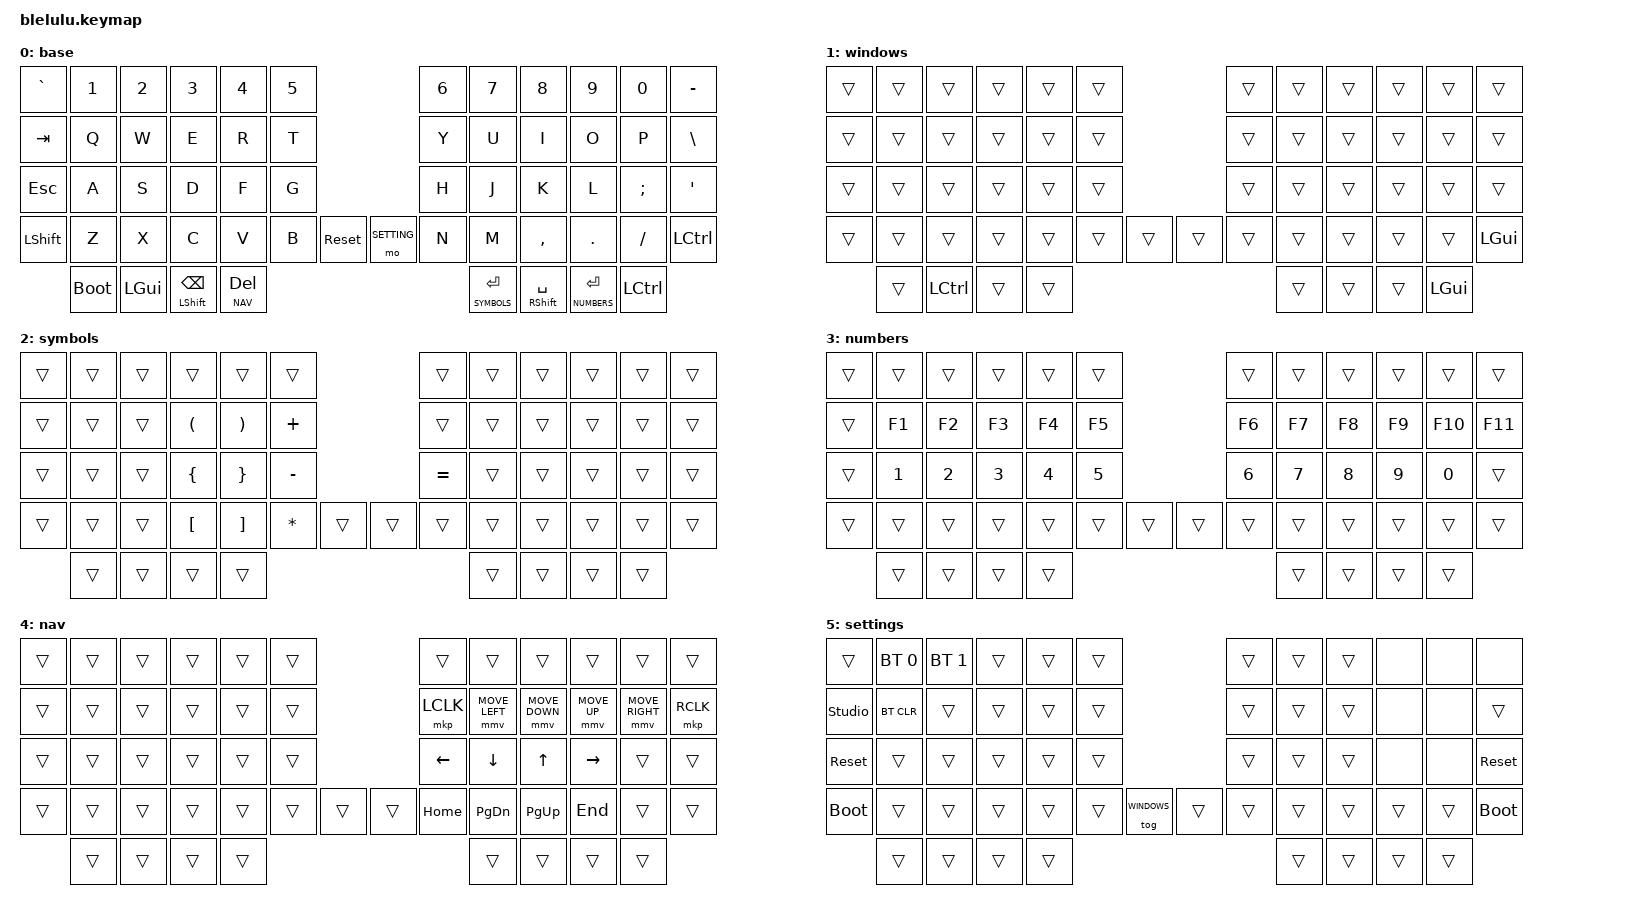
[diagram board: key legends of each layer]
/*
 * Boardsource Wireless Lily58 SMT ("BLE Lulu": built-in nRF52840).
 *
 * Shared layout: the wired Lulu runs the same layers from
 * keyboards/boardsource/lulu/keymaps/andy/keymap.c (QMK). Change both files together.
 *
 * Differences forced by the hardware or firmware:
 *   - The Lulu swaps Ctrl/GUI automatically on Windows/Linux. ZMK can't detect
 *     the OS, so here the swap is the WINDOWS layer, toggled with
 *     Settings + Win/Mac. That key also exists on the Lulu, so both boards match.
 *     ZMK doesn't remember the toggle after a restart or deep sleep.
 *   - Bluetooth and Studio keys work only here (KC_NO on the Lulu).
 *   - RGB keys work only on the Lulu (&none here: this board has no LEDs).
 */

#include <behaviors.dtsi>
#include <dt-bindings/zmk/keys.h>
#include <dt-bindings/zmk/bt.h>
#include <dt-bindings/zmk/pointing.h>

#define BASE 0
#define WINDOWS 1
#define SYMBOLS 2
#define NUMBERS 3
#define NAV 4
#define SETTING 5

// Same hold-tap feel as the Lulu (QMK defaults + TAPPING_TERM 200 / QUICK_TAP_TERM 175).
&mt {
    flavor = "tap-preferred";
    tapping-term-ms = <200>;
    quick-tap-ms = <175>;
};

&lt {
    flavor = "tap-preferred";
    tapping-term-ms = <200>;
    quick-tap-ms = <175>;
};

/ {
    keymap {
        compatible = "zmk,keymap";

        default_layer {
            display-name = "base";
            // ┌───────┬───────┬───────┬───────┬───────┬───────┐                 ┌───────┬───────┬───────┬───────┬───────┬───────┐
            // │   `   │   1   │   2   │   3   │   4   │   5   │                 │   6   │   7   │   8   │   9   │   0   │   -   │
            // ├───────┼───────┼───────┼───────┼───────┼───────┤                 ├───────┼───────┼───────┼───────┼───────┼───────┤
            // │  Tab  │   Q   │   W   │   E   │   R   │   T   │                 │   Y   │   U   │   I   │   O   │   P   │   \   │
            // ├───────┼───────┼───────┼───────┼───────┼───────┤                 ├───────┼───────┼───────┼───────┼───────┼───────┤
            // │  Esc  │   A   │   S   │   D   │   F   │   G   ├───────┐ ┌───────┤   H   │   J   │   K   │   L   │   ;   │   '   │
            // ├───────┼───────┼───────┼───────┼───────┼───────┤Reboot │ │SETTING├───────┼───────┼───────┼───────┼───────┼───────┤
            // │ Shift │   Z   │   X   │   C   │   V   │   B   ├───────┘ └───────┤   N   │   M   │   ,   │   .   │   /   │ Ctrl  │
            // └───────┴───────┼───────┼───────┼───────┼───────┤                 ├───────┼───────┼───────┼───────┼───────┴───────┘
            //                 │ Boot  │  GUI  │SH/Bspc│NAV/Del│                 │SYM/Ent│SH/Spc │NUM/Ent│ Ctrl  │
            //                 └───────┴───────┴───────┴───────┘                 └───────┴───────┴───────┴───────┘
            bindings = <
                &kp GRAVE  &kp N1  &kp N2  &kp N3  &kp N4  &kp N5                                &kp N6  &kp N7  &kp N8     &kp N9   &kp N0    &kp MINUS
                &kp TAB    &kp Q   &kp W   &kp E   &kp R   &kp T                                 &kp Y   &kp U   &kp I      &kp O    &kp P     &kp BSLH
                &kp ESC    &kp A   &kp S   &kp D   &kp F   &kp G                                 &kp H   &kp J   &kp K      &kp L    &kp SEMI  &kp SQT
                &kp LSHFT  &kp Z   &kp X   &kp C   &kp V   &kp B   &sys_reset     &mo SETTING    &kp N   &kp M   &kp COMMA  &kp DOT  &kp FSLH  &kp LCTRL
                              &bootloader  &kp LGUI  &mt LSHFT BSPC  &lt NAV DEL     &lt SYMBOLS RET  &mt RSHFT SPACE  &lt NUMBERS RET  &kp LCTRL
            >;
        };

        windows_layer {
            display-name = "windows";
            // Ctrl/GUI swap, the same as the Lulu's automatic swap on Windows/Linux.
            // Everything else falls through to base.
            bindings = <
                &trans  &trans  &trans  &trans  &trans  &trans                                   &trans  &trans  &trans  &trans  &trans  &trans
                &trans  &trans  &trans  &trans  &trans  &trans                                   &trans  &trans  &trans  &trans  &trans  &trans
                &trans  &trans  &trans  &trans  &trans  &trans                                   &trans  &trans  &trans  &trans  &trans  &trans
                &trans  &trans  &trans  &trans  &trans  &trans  &trans          &trans           &trans  &trans  &trans  &trans  &trans  &kp LGUI
                                        &trans  &kp LCTRL  &trans  &trans          &trans  &trans  &trans  &kp LGUI
            >;
        };

        symbols_layer {
            display-name = "symbols";
            // Left hand: ( ) +  /  { } -  /  [ ] *      Right hand: = on H
            bindings = <
                &trans  &trans  &trans  &trans    &trans    &trans                               &trans     &trans  &trans  &trans  &trans  &trans
                &trans  &trans  &trans  &kp LPAR  &kp RPAR  &kp PLUS                             &trans     &trans  &trans  &trans  &trans  &trans
                &trans  &trans  &trans  &kp LBRC  &kp RBRC  &kp MINUS                            &kp EQUAL  &trans  &trans  &trans  &trans  &trans
                &trans  &trans  &trans  &kp LBKT  &kp RBKT  &kp ASTRK  &trans        &trans      &trans     &trans  &trans  &trans  &trans  &trans
                                        &trans    &trans    &trans     &trans        &trans      &trans     &trans  &trans
            >;
        };

        numbers_layer {
            display-name = "numbers";
            // Row 2: F1-F11, home row: 1-0
            bindings = <
                &trans  &trans  &trans  &trans  &trans  &trans                                   &trans  &trans  &trans  &trans  &trans   &trans
                &trans  &kp F1  &kp F2  &kp F3  &kp F4  &kp F5                                   &kp F6  &kp F7  &kp F8  &kp F9  &kp F10  &kp F11
                &trans  &kp N1  &kp N2  &kp N3  &kp N4  &kp N5                                   &kp N6  &kp N7  &kp N8  &kp N9  &kp N0   &trans
                &trans  &trans  &trans  &trans  &trans  &trans  &trans          &trans           &trans  &trans  &trans  &trans  &trans   &trans
                                        &trans  &trans  &trans  &trans          &trans  &trans   &trans  &trans
            >;
        };

        nav_layer {
            display-name = "nav";
            // Right hand: mouse clicks/moves on the top row, arrows on home row, Home/PgDn/PgUp/End below
            bindings = <
                &trans  &trans  &trans  &trans  &trans  &trans                                   &trans     &trans          &trans          &trans        &trans           &trans
                &trans  &trans  &trans  &trans  &trans  &trans                                   &mkp LCLK  &mmv MOVE_LEFT  &mmv MOVE_DOWN  &mmv MOVE_UP  &mmv MOVE_RIGHT  &mkp RCLK
                &trans  &trans  &trans  &trans  &trans  &trans                                   &kp LEFT   &kp DOWN        &kp UP          &kp RIGHT     &trans           &trans
                &trans  &trans  &trans  &trans  &trans  &trans  &trans          &trans           &kp HOME   &kp PG_DN       &kp PG_UP       &kp END       &trans           &trans
                                        &trans  &trans  &trans  &trans          &trans  &trans   &trans     &trans
            >;
        };

        setting_layer {
            display-name = "settings";
            // ┌───────┬───────┬───────┬───────┬───────┬───────┐                 ┌───────┬───────┬───────┬───────┬───────┬───────┐
            // │       │  BT1  │  BT2  │       │       │       │                 │       │       │       │   -   │   -   │ (RGB) │
            // ├───────┼───────┼───────┼───────┼───────┼───────┤                 ├───────┼───────┼───────┼───────┼───────┼───────┤
            // │Studio │BT clr │       │       │       │       │                 │       │       │       │(BRI-) │(BRI+) │       │
            // ├───────┼───────┼───────┼───────┼───────┼───────┤                 ├───────┼───────┼───────┼───────┼───────┼───────┤
            // │Reboot │       │       │       │       │       ├───────┐ ┌───────┤       │       │       │(HUE-) │(HUE+) │Reboot │
            // ├───────┼───────┼───────┼───────┼───────┼───────┤Win/Mac│ │(held) ├───────┼───────┼───────┼───────┼───────┼───────┤
            // │ Boot  │       │       │       │       │       ├───────┘ └───────┤       │       │       │       │       │ Boot  │
            // └───────┴───────┴───────┴───────┴───────┴───────┘                 └───────┴───────┴───────┴───────┴───────┴───────┘
            // (…) = RGB keys that only do something on the Lulu.
            bindings = <
                &trans          &bt BT_SEL 0  &bt BT_SEL 1  &trans  &trans  &trans                         &trans  &trans  &trans  &none  &none  &none
                &studio_unlock  &bt BT_CLR    &trans        &trans  &trans  &trans                         &trans  &trans  &trans  &none  &none  &trans
                &sys_reset      &trans        &trans        &trans  &trans  &trans                         &trans  &trans  &trans  &none  &none  &sys_reset
                &bootloader     &trans        &trans        &trans  &trans  &trans  &tog WINDOWS  &trans   &trans  &trans  &trans  &trans &trans &bootloader
                                              &trans        &trans  &trans  &trans                &trans   &trans  &trans  &trans
            >;
        };
    };
};
